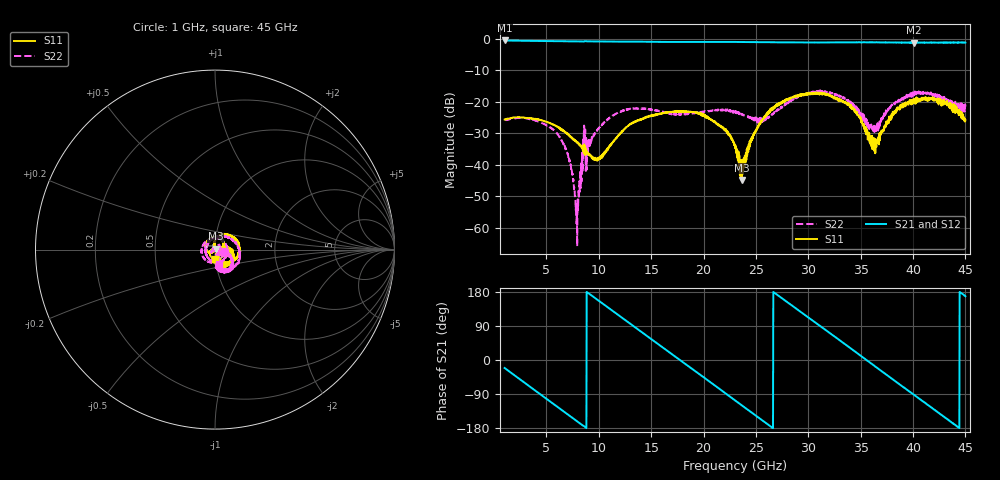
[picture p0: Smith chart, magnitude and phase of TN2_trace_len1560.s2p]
!Keysight Technologies,N5247B,MY61255062,A.19.80.06
!Date: Thursday, May 21, 2026 12:14:15
!Correction: S11(Cdelta 2-Port  )
!S21(Cdelta 2-Port  )
!S12(Cdelta 2-Port  )
!S22(Cdelta 2-Port  )
!S2P File: Measurements: S11, S21, S12, S22:
# Hz S  dB  R 50
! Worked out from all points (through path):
!   1601 points, 1 GHz to 45 GHz, reference 50 ohm
!   highest |S21| = -0.47 dB at 1 GHz (marker M1); lowest = -1.2 dB at 40.05 GHz (marker M2)
!   group delay of S21, straight-line fit = 56.1 ps
!   lowest |S11| = -44.8 dB at 23.63 GHz (marker M3), VSWR 1.01, Z = 50.3 + j0.498 ohm
!   |S11| at or under -10 dB: start of sweep to end of sweep
!   |S22| runs from -65.9 to -16.3 dB; largest |S21 - S12| = 0.015
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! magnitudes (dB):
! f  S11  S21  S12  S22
! 1 GHz  -25.6  -0.5  -0.5  -25.7
! 5.978 GHz  -27.9  -0.7  -0.7  -30.0
! 7.105 GHz  -30.4  -0.7  -0.7  -37.8
! 7.875 GHz  -32.9  -0.7  -0.7  -58.8
! 8.068 GHz  -33.5  -0.7  -0.7  -48.3
! 8.342 GHz  -34.3  -0.8  -0.8  -45.3
! 8.7 GHz  -37.0  -0.7  -0.7  -28.8
! 9.91 GHz  -37.8  -0.8  -0.8  -28.8
! 11.15 GHz  -33.5  -0.8  -0.8  -24.8
! 13.04 GHz  -27.0  -0.9  -0.9  -22.3
! 15.69 GHz  -23.8  -0.9  -0.9  -22.9
! 19.84 GHz  -24.4  -1.0  -1.0  -23.3
! 23 GHz  -34.2  -0.9  -0.9  -22.9
! 23.63 GHz  -44.8  -1.0  -1.0  -23.9
! 26.25 GHz  -23.7  -1.0  -1.0  -24.7
! 30.34 GHz  -17.6  -1.1  -1.1  -16.8
! 33.89 GHz  -21.1  -1.1  -1.1  -19.7
! 36.17 GHz  -32.0  -1.1  -1.1  -29.0
! 37.69 GHz  -26.0  -1.1  -1.1  -22.1
! 40.05 GHz  -19.2  -1.2  -1.2  -18.0
! 43.16 GHz  -20.0  -1.1  -1.1  -19.0
! 45 GHz  -25.8  -1.2  -1.1  -21.6
